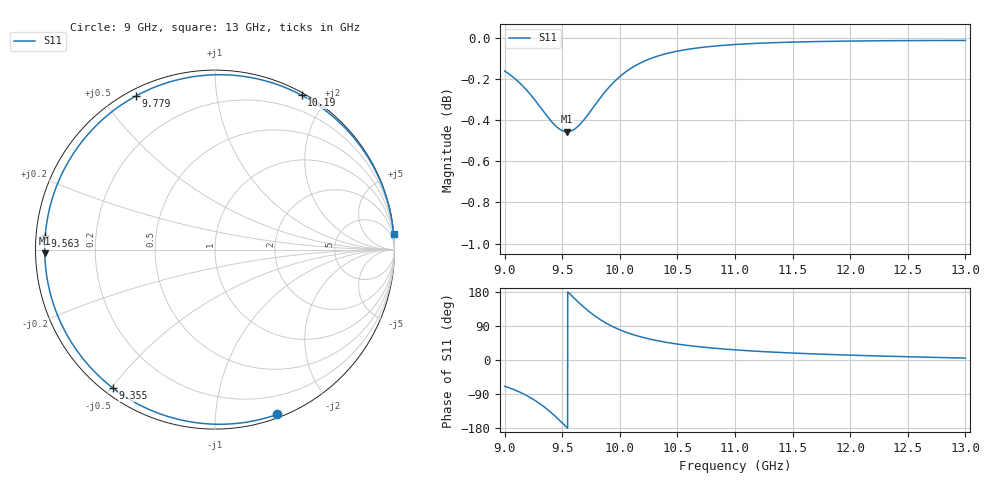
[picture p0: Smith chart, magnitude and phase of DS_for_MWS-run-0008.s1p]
! TOUCHSTONE file generated by CST DESIGN STUDIO
! Date and time: Tue Feb  4 13:59:20 2025
! Project name: C:\Work\MatlabApps\UnitCellOptimizationMatlab\CST\unitcell.cst
! Tree item: Tasks\Sweep1\SPara1\S-Parameters
! Header version: 2024
! Port assignment regex: !\s*Touchstone port\s*([0-9]+)\s*=\s*(CST MWS port|CST DES external port|CST DES block port)\s*(.+)\s* \(\"(.*)\"\)(\s*mode\s*([0-9]+))?.*
! Touchstone port assignment:
! Touchstone port 1 = CST DES external port 1 ("")
# GHz S MA R 50
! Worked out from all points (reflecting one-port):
!   4001 points, 9 GHz to 13 GHz, reference 50 ohm
!   lowest |S11| = -0.5 dB at 9.543 GHz (marker M1), VSWR 38.12, Z = 1.31 - j0.553 ohm
!   phase of S11 starts at -69 deg and turns -286 deg over the sweep
!   S11 on the Smith chart (normalised r, x): 9 GHz: 0.03, -1.45; 9.355 GHz: 0.03, -0.50; 9.563 GHz: 0.03, +0.04; 9.779 GHz: 0.03, +0.61; 10.19 GHz: 0.03, +1.71; 13 GHz: 0, +23
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9  0.9817 -69.3
9.101  0.9769 -80.7
9.211  0.9698 -97.1
9.287  0.9639 -111.4
9.355  0.9583 -126.5
9.424  0.9531 -144.2
9.464  0.9508 -155.4
9.5  0.9495 -165.9
9.543  0.9489 -178.7
9.563  0.949 175.3
9.617  0.9507 159.3
9.678  0.9544 142.1
9.728  0.9583 129.2
9.779  0.9627 117.3
9.826  0.9666 107.5
9.877  0.9706 98.1
9.934  0.9746 88.8
10  0.9786 79.7
10.09  0.9829 69.5
10.187  0.9863 60.7
10.33  0.9899 50.7
10.5  0.9926 42.0
10.721  0.9948 33.9
11  0.9963 26.7
11.5  0.9977 18.3
12  0.9982 12.8
12.5  0.9985 8.6
13  0.9986 5.1
